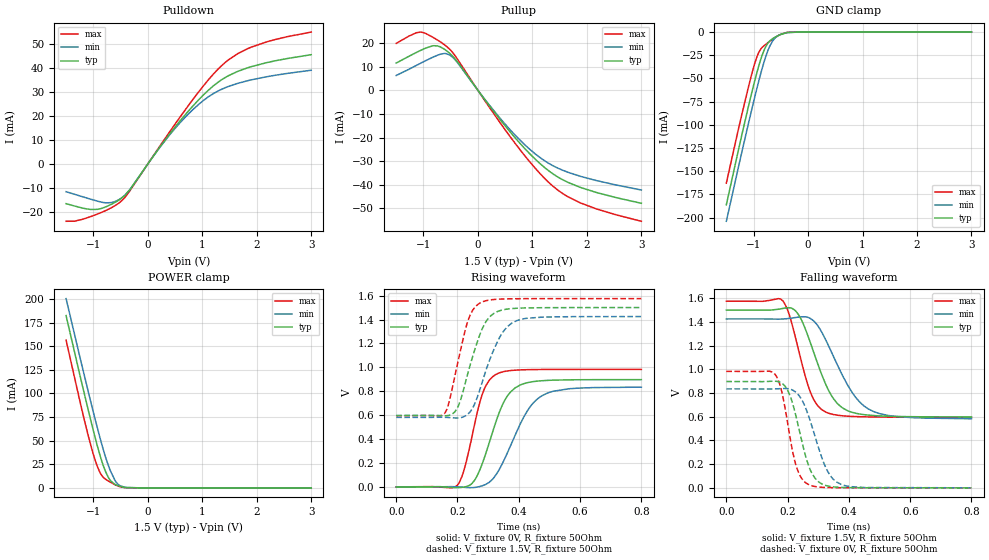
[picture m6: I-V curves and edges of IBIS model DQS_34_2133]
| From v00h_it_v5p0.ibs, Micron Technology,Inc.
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| MODEL DQS_34_2133 (34 Ohm Data Strobe I/O with no ODT, 1866/2133Mbps)
[Model]   DQS_34_2133
Model_type   I/O
Vinl = 615.000mV
Vinh = 885.000mV
Vmeas = 750.000mV
Vref = 750.000mV
Cref = 0.0pF
Rref = 25.000Ohm
|   typ   min   max
|C_comp   1.100pF   1.025pF   1.175pF
C_comp_pullup   0.5500pF   0.5125pF   0.5875pF
C_comp_pulldown   0.5500pF   0.5125pF   0.5875pF
[Model Spec]
| Input threshold voltage corners
Vinl   0.6150V   0.5775V   0.6525V
Vinh   0.8850V   0.8475V   0.9225V
| Measurement voltage corners
Vmeas   0.7500V   0.7125V   0.7875V
| Timing spec test load voltage corners
Vref   0.7500V   0.7125V   0.7875V
| Dynamic Overshoot Parameters from DDR3 Specification
D_overshoot_ampl_h   0.40   NA   NA
D_overshoot_ampl_l   0.40   NA   NA
D_overshoot_area_h   0.10n   NA   NA
D_overshoot_area_l   0.10n   NA   NA
[Receiver Thresholds]
|Vth   =  0.750V
|Vth_min  =  0.7350V
|Vth_max  =  0.7650V
|Vinh_ac  =  0.135V
|Vinh_dc  =  0.100V
|Vinl_ac  = -0.135V
|Vinl_dc  = -0.100V
|Tslew_ac =  5.000ns |Not specified, so set to high value
|Threshold_sensitivity = 0.50
|Reference_supply Pullup_ref
Vcross_low   = 0.615V
Vcross_high  = 0.885V
Vdiff_ac   = 270mV
Vdiff_dc   = 200mV
Tdiffslew_ac = 10.000ns |Not specified, so set to high value
[Voltage Range]   1.5000V   1.4250V   1.5750V
[Pullup Reference]   1.5000V   1.4250V   1.5750V
| Junction Temperature (Ambient temp is 35C typ, 95C min, -40C max)
[Temperature Range]   50.0   110.0   -40.0
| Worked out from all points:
|   slope of the pulldown table from 0 to 0.225 V, typ, clamps not added: 31.5 ohm
|   slope of the pullup table from 0 to 0.225 V, typ, clamps not added: 32.3 ohm
|   GND clamp passes 1 mA (typ) near -0.41 V on its own axis
|   POWER clamp passes 1 mA (typ) near -0.47 V on its own axis
|   falling waveform, V_fixture 1.5V, R_fixture 50Ohm: 20-80 % time 82.3ps typ, 103ps min, 62.4ps max; typ from 1.5 V to 0.598 V
|   rising waveform, V_fixture 0V, R_fixture 50Ohm: 20-80 % time 74.2ps typ, 95.7ps min, 55.2ps max; typ from 0 V to 0.897 V
|   rising waveform, V_fixture 1.5V, R_fixture 50Ohm: 20-80 % time 64.2ps typ, 74.2ps min, 52.7ps max; typ from 0.598 V to 1.5 V
|   falling waveform, V_fixture 0V, R_fixture 50Ohm: 20-80 % time 54ps typ, 65.5ps min, 43.5ps max; typ from 0.897 V to 0 V
[Pulldown]
|   Voltage   I(typ)   I(min)   I(max)
-1.5V     -16.49mA   -11.52mA   -23.81mA
-927mV    -18.87mA   -15.42mA   -20.84mA
-659.3mV  -16.64mA   -16.01mA   -18.07mA
-496.7mV  -14.45mA   -14.34mA   -15.63mA
-331.5mV  -10.75mA   -10.69mA   -11.21mA
218.3mV   6.936mA    6.818mA    7.335mA
718.7mV   21.3mA     20.18mA    23.48mA
1.111V    30.64mA    27.9mA     34.95mA
1.472V    36.58mA    32.16mA    43.12mA
1.84V     40.05mA    34.66mA    48.01mA
2.181V    42.12mA    36.26mA    50.75mA
3V        45.43mA    38.98mA    54.85mA
[GND Clamp]
|   Voltage   I(typ)   I(min)   I(max)
-1.5V     -186.2mA   -204mA     -162.9mA
-1.291V   -130.5mA   -148.9mA   -107.9mA
-1.095V   -80.39mA   -98.86mA   -59.54mA
-989.9mV  -55.08mA   -72.86mA   -36.03mA
-940.9mV  -44.11mA   -61.2mA    -27.05mA
-862.1mV  -28.34mA   -43.4mA    -17.87mA
-759mV    -13.9mA    -23.46mA   -12.44mA
-712.5mV  -10.15mA   -16.54mA   -10.38mA
-647.9mV  -7.037mA   -9.445mA   -7.66mA
-568.5mV  -4.399mA   -4.62mA    -4.62mA
-381.7mV  -506.1uA   -556.5uA   -275.5uA
3V        0A         0A         0A
[Pullup]
|   Voltage   I(typ)   I(min)   I(max)
-1.5V     11.53mA    6.273mA    19.87mA
-1.043V   17mA       11.56mA    24.67mA
-744mV    18.81mA    14.83mA    21.32mA
-522.4mV  15.75mA    15.01mA    17.49mA
-367.5mV  11.8mA     11.49mA    12.91mA
212mV     -6.585mA   -6.338mA   -7.256mA
631.8mV   -18.74mA   -17.73mA   -20.89mA
953.8mV   -26.92mA   -25.02mA   -30.35mA
1.339V    -34.75mA   -31.44mA   -39.81mA
1.565V    -37.98mA   -33.93mA   -43.84mA
1.89V     -41.18mA   -36.47mA   -47.76mA
3V        -47.84mA   -42.22mA   -55.45mA
[POWER Clamp]
|   Voltage   I(typ)   I(min)   I(max)
-1.5V     182.5mA    200.6mA    156.6mA
-1.256V   121.8mA    140.9mA    94.21mA
-1.097V   83.32mA    102.9mA    56.03mA
-1.002V   61.22mA    80.78mA    35.95mA
-928.3mV  44.91mA    64.1mA     22.98mA
-838.5mV  27.22mA    44.83mA    12.58mA
-726mV    11.32mA    24.06mA    7.313mA
-603.7mV  3.691mA    8.067mA    3.362mA
-516.8mV  1.636mA    2.488mA    1.279mA
-397.1mV  266.4uA    386.2uA    98.59uA
-148.7mV  480nA      2.052uA    0A
3V        0A         0A         0A
[Ramp]
R_load = 50
|   typ   min   max
dV/dt_r 5.3829E-01/7.4169E-11   5.0049E-01/9.5560E-11   5.8964E-01/5.5242E-11
dV/dt_f 5.4128E-01/8.2191E-11   5.0529E-01/1.0304E-10   5.8791E-01/6.2277E-11
[Falling Waveform]
V_fixture = 1.5V
V_fixture_min = 1.425V
V_fixture_max = 1.575V
R_fixture = 50Ohm
C_fixture = 0F
|   Time   V(typ)   V(min)   V(max)
0s        1.5V       1.425V     1.575V
184ps     1.513V     1.425V     1.579V
204ps     1.52V      1.429V     1.471V
236ps     1.46V      1.441V     1.159V
276ps     1.211V     1.426V     796.5mV
324ps     875.4mV    1.25V      640.2mV
378ps     676.5mV    953.8mV    608.2mV
422ps     629.4mV    763.6mV    601.3mV
466ps     613mV      661.8mV    598.4mV
800ps     597.9mV    582.8mV    595.1mV
[Rising Waveform]
V_fixture = 0V
V_fixture_min = 0V
V_fixture_max = 0V
R_fixture = 50Ohm
C_fixture = 0F
|   Time   V(typ)   V(min)   V(max)
0s        1.307uV    3.186uV    0V
200ps     -6.735mV   60.18uV    14.59mV
226ps     789.1uV    -4.917mV   184.1mV
260ps     73.2mV     -3.551mV   572.4mV
290ps     261.4mV    18.03mV    833.1mV
330ps     578.6mV    118.4mV    946.4mV
388ps     827.9mV    431.7mV    976.3mV
432ps     873.8mV    651.6mV    980.6mV
476ps     888.1mV    762.7mV    982mV
800ps     897.1mV    834.1mV    982.7mV
[Rising Waveform]
V_fixture = 1.5V
V_fixture_min = 1.425V
V_fixture_max = 1.575V
R_fixture = 50Ohm
C_fixture = 0F
|   Time   V(typ)   V(min)   V(max)
0s        597.5mV    581.2mV    595.1mV
158ps     594.6mV    581.9mV    614.9mV
174ps     599.6mV    579.6mV    723.5mV
200ps     661.9mV    576.3mV    1.029V
234ps     951.6mV    608.9mV    1.389V
278ps     1.307V     854.5mV    1.544V
304ps     1.419V     1.055V     1.563V
338ps     1.474V     1.253V     1.571V
392ps     1.494V     1.389V     1.574V
800ps     1.5V       1.425V     1.575V
[Falling Waveform]
|Gnd
V_fixture = 0V
V_fixture_min = 0V
V_fixture_max = 0V
R_fixture = 50Ohm
C_fixture = 0F
|   Time   V(typ)   V(min)   V(max)
0s        897.2mV    834.6mV    982.7mV
160ps     899.4mV    834.7mV    954.1mV
178ps     887.4mV    837.3mV    841.4mV
196ps     840.8mV    837.6mV    607.4mV
228ps     596.9mV    804.2mV    183.9mV
270ps     176.3mV    594.4mV    25.81mV
296ps     62.63mV    378.5mV    8.375mV
326ps     18.85mV    162.2mV    2.829mV
374ps     3.596mV    29.66mV    828.9uV
800ps     8.557uV    35.14uV    1.716uV
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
